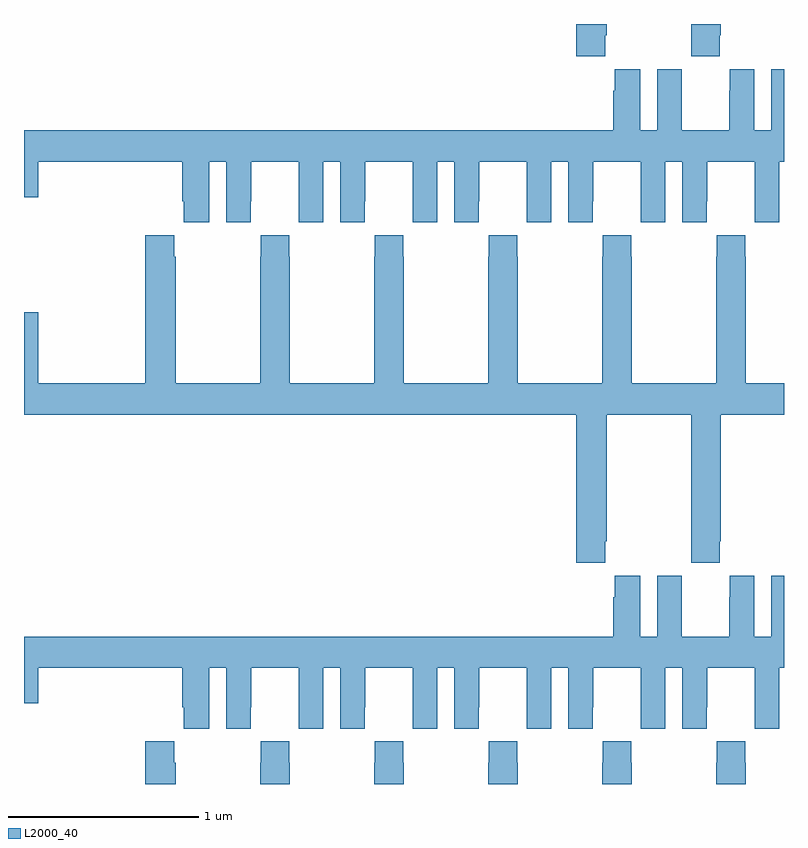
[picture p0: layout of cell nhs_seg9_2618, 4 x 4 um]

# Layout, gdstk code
import gdstk
lib = gdstk.Library(unit=1e-6, precision=1e-09)
def P(c, l, *ps):  # polygons
    for p in ps: c.add(gdstk.Polygon(p, *l))
L2000_40 = (2000, 40)

nhs_seg9_2618 = lib.new_cell('nhs_seg9_2618')
P(nhs_seg9_2618, L2000_40, [(264.663,1174.441),(264.666,1174.441),(264.666,1174.5),(264.511,1174.5),(264.511,1174.441),(264.513,1174.441),(264.513,1174.329),(264.663,1174.329)],
  [(264.059,1174.441),(264.066,1174.441),(264.066,1174.5),(263.906,1174.5),(263.906,1174.329),(264.059,1174.329)],
  [(261.976,1173.776),(262.064,1173.776),(262.064,1173.456),(262.194,1173.456),(262.194,1173.568),(262.195,1173.568),(262.195,1173.776),(262.445,1173.776),(262.445,1173.568),(262.446,1173.568),(262.446,1173.456),(262.576,1173.456),(262.576,1173.776),(262.664,1173.776),(262.664,1173.456),(262.794,1173.456),(262.794,1173.568),(262.795,1173.568),(262.795,1173.776),(263.045,1173.776),(263.045,1173.568),(263.046,1173.568),(263.046,1173.456),(263.176,1173.456),(263.176,1173.776),(263.264,1173.776),(263.264,1173.456),(263.394,1173.456),(263.394,1173.568),(263.395,1173.568),(263.395,1173.776),(263.645,1173.776),(263.645,1173.568),(263.646,1173.568),(263.646,1173.456),(263.776,1173.456),(263.776,1173.776),(263.864,1173.776),(263.864,1173.456),(263.994,1173.456),(263.994,1173.568),(263.995,1173.568),(263.995,1173.776),(264.245,1173.776),(264.245,1173.568),(264.246,1173.568),(264.246,1173.456),(264.376,1173.456),(264.376,1173.776),(264.464,1173.776),(264.464,1173.456),(264.594,1173.456),(264.594,1173.568),(264.595,1173.568),(264.595,1173.776),(264.845,1173.776),(264.845,1173.568),(264.846,1173.568),(264.846,1173.456),(264.976,1173.456),(264.976,1173.776),(265,1173.776),(265,1174.261),(264.932,1174.261),(264.932,1173.94),(264.844,1173.94),(264.844,1174.261),(264.714,1174.261),(264.714,1174.148),(264.713,1174.148),(264.713,1173.94),(264.463,1173.94),(264.463,1174.148),(264.462,1174.148),(264.462,1174.261),(264.332,1174.261),(264.332,1173.94),(264.244,1173.94),(264.244,1174.261),(264.11,1174.261),(264.11,1174.148),(264.101,1174.148),(264.101,1173.94),(261,1173.94),(261,1173.588),(261.076,1173.588),(261.076,1173.776),(261.833,1173.776),(261.833,1173.568),(261.842,1173.568),(261.842,1173.456),(261.976,1173.456)],
  [(264.059,1171.777),(264.066,1171.777),(264.066,1172.444),(264.511,1172.444),(264.511,1171.777),(264.513,1171.777),(264.513,1171.665),(264.663,1171.665),(264.663,1171.777),(264.666,1171.777),(264.666,1172.444),(265,1172.444),(265,1172.608),(264.798,1172.608),(264.798,1173.275),(264.795,1173.275),(264.795,1173.388),(264.645,1173.388),(264.645,1173.275),(264.643,1173.275),(264.643,1172.608),(264.198,1172.608),(264.198,1173.275),(264.195,1173.275),(264.195,1173.388),(264.045,1173.388),(264.045,1173.275),(264.043,1173.275),(264.043,1172.608),(263.598,1172.608),(263.598,1173.275),(263.595,1173.275),(263.595,1173.388),(263.445,1173.388),(263.445,1173.275),(263.443,1173.275),(263.443,1172.608),(262.998,1172.608),(262.998,1173.275),(262.995,1173.275),(262.995,1173.388),(262.845,1173.388),(262.845,1173.275),(262.843,1173.275),(262.843,1172.608),(262.398,1172.608),(262.398,1173.275),(262.395,1173.275),(262.395,1173.388),(262.245,1173.388),(262.245,1173.275),(262.243,1173.275),(262.243,1172.608),(261.798,1172.608),(261.798,1173.275),(261.791,1173.275),(261.791,1173.388),(261.638,1173.388),(261.638,1172.608),(261.076,1172.608),(261.076,1172.983),(261,1172.983),(261,1172.444),(263.906,1172.444),(263.906,1171.665),(264.059,1171.665)],
  [(261,1170.924),(261.076,1170.924),(261.076,1171.112),(261.833,1171.112),(261.833,1170.904),(261.842,1170.904),(261.842,1170.792),(261.976,1170.792),(261.976,1171.112),(262.064,1171.112),(262.064,1170.792),(262.194,1170.792),(262.194,1170.904),(262.195,1170.904),(262.195,1171.112),(262.445,1171.112),(262.445,1170.904),(262.446,1170.904),(262.446,1170.792),(262.576,1170.792),(262.576,1171.112),(262.664,1171.112),(262.664,1170.792),(262.794,1170.792),(262.794,1170.904),(262.795,1170.904),(262.795,1171.112),(263.045,1171.112),(263.045,1170.904),(263.046,1170.904),(263.046,1170.792),(263.176,1170.792),(263.176,1171.112),(263.264,1171.112),(263.264,1170.792),(263.394,1170.792),(263.394,1170.904),(263.395,1170.904),(263.395,1171.112),(263.645,1171.112),(263.645,1170.904),(263.646,1170.904),(263.646,1170.792),(263.776,1170.792),(263.776,1171.112),(263.864,1171.112),(263.864,1170.792),(263.994,1170.792),(263.994,1170.904),(263.995,1170.904),(263.995,1171.112),(264.245,1171.112),(264.245,1170.904),(264.246,1170.904),(264.246,1170.792),(264.376,1170.792),(264.376,1171.112),(264.464,1171.112),(264.464,1170.792),(264.594,1170.792),(264.594,1170.904),(264.595,1170.904),(264.595,1171.112),(264.845,1171.112),(264.845,1170.904),(264.846,1170.904),(264.846,1170.792),(264.976,1170.792),(264.976,1171.112),(265,1171.112),(265,1171.597),(264.932,1171.597),(264.932,1171.276),(264.844,1171.276),(264.844,1171.597),(264.714,1171.597),(264.714,1171.484),(264.713,1171.484),(264.713,1171.276),(264.463,1171.276),(264.463,1171.484),(264.462,1171.484),(264.462,1171.597),(264.332,1171.597),(264.332,1171.276),(264.244,1171.276),(264.244,1171.597),(264.11,1171.597),(264.11,1171.484),(264.101,1171.484),(264.101,1171.276),(261,1171.276)],
  [(261.798,1170.611),(261.791,1170.611),(261.791,1170.724),(261.638,1170.724),(261.638,1170.5),(261.798,1170.5)],
  [(262.398,1170.611),(262.395,1170.611),(262.395,1170.724),(262.245,1170.724),(262.245,1170.611),(262.243,1170.611),(262.243,1170.5),(262.398,1170.5)],
  [(262.998,1170.611),(262.995,1170.611),(262.995,1170.724),(262.845,1170.724),(262.845,1170.611),(262.843,1170.611),(262.843,1170.5),(262.998,1170.5)],
  [(263.598,1170.611),(263.595,1170.611),(263.595,1170.724),(263.445,1170.724),(263.445,1170.611),(263.443,1170.611),(263.443,1170.5),(263.598,1170.5)],
  [(264.198,1170.611),(264.195,1170.611),(264.195,1170.724),(264.045,1170.724),(264.045,1170.611),(264.043,1170.611),(264.043,1170.5),(264.198,1170.5)],
  [(264.798,1170.611),(264.795,1170.611),(264.795,1170.724),(264.645,1170.724),(264.645,1170.611),(264.643,1170.611),(264.643,1170.5),(264.798,1170.5)])

lib.write_gds('nhs_seg9_2618.gds')
